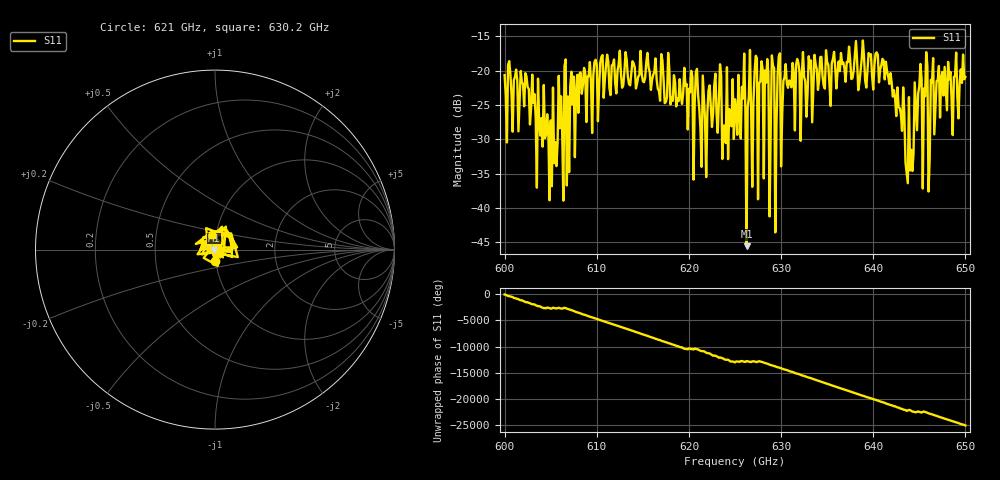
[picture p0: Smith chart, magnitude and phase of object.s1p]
!Created with skrf (http://scikit-rf.org).
# GHz S MA R 50.0
!freq magS11 angS11
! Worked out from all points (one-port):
!   401 points, 600 GHz to 650 GHz, reference 50 ohm
!   lowest |S11| = -45.6 dB at 626.2 GHz (marker M1), VSWR 1.01, Z = 49.5 - j0.238 ohm
!   |S11| at or under -10 dB: start of sweep to end of sweep
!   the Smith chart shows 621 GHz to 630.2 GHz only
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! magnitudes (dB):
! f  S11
! 600 GHz  -20.6
! 602.4 GHz  -20.8
! 603.6 GHz  -21.2
! 604.5 GHz  -29.3
! 604.9 GHz  -38.9
! 606.2 GHz  -29.1
! 608.4 GHz  -23.4
! 612.5 GHz  -17.1
! 618.8 GHz  -24.0
! 620.9 GHz  -19.7
! 621.6 GHz  -23.9
! 623.1 GHz  -29.1
! 623.8 GHz  -28.0
! 625 GHz  -24.2
! 625.9 GHz  -24.1
! 626.2 GHz  -45.6
! 627.1 GHz  -20.2
! 629.4 GHz  -43.6
! 630.5 GHz  -19.0
! 631.2 GHz  -18.9
! 637.5 GHz  -18.5
! 641.2 GHz  -21.3
! 643.1 GHz  -28.8
! 643.8 GHz  -36.4
! 645 GHz  -22.2
! 646.1 GHz  -32.8
! 647.2 GHz  -26.8
! 650 GHz  -20.9
